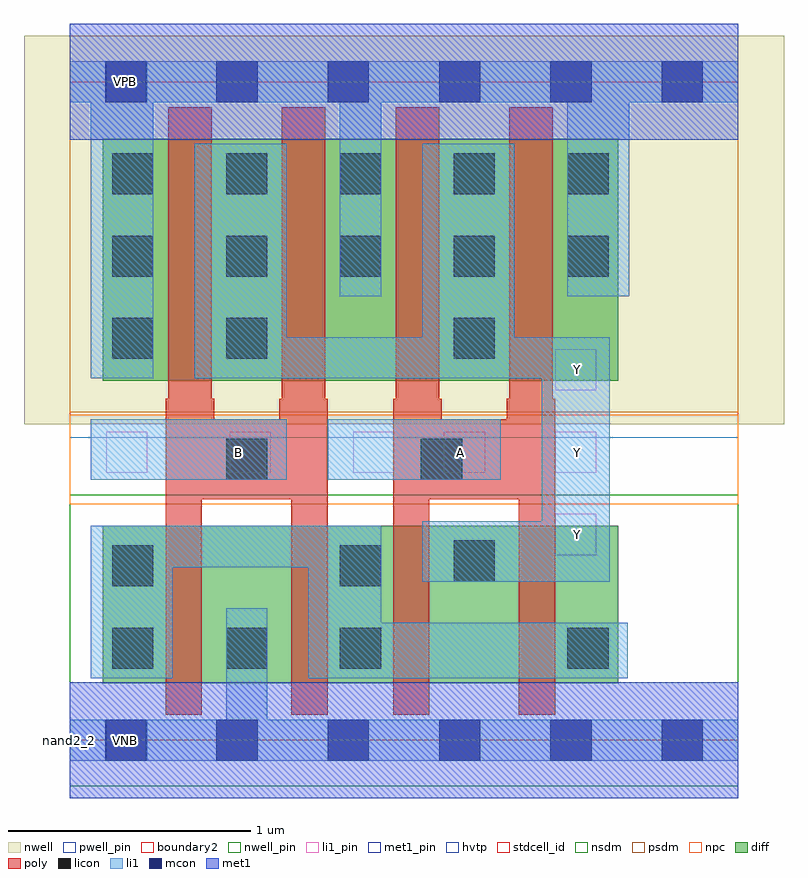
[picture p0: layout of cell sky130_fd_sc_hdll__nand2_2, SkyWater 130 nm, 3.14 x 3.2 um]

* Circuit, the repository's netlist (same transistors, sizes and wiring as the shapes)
* Copyright 2020 The SkyWater PDK Authors
*
* Licensed under the Apache License, Version 2.0 (the "License");
* you may not use this file except in compliance with the License.
* You may obtain a copy of the License at
*
*     https://www.apache.org/licenses/LICENSE-2.0
*
* Unless required by applicable law or agreed to in writing, software
* distributed under the License is distributed on an "AS IS" BASIS,
* WITHOUT WARRANTIES OR CONDITIONS OF ANY KIND, either express or implied.
* See the License for the specific language governing permissions and
* limitations under the License.
*
* SPDX-License-Identifier: Apache-2.0

.SUBCKT sky130_fd_sc_hdll__nand2_2 A B VGND VNB VPB VPWR Y
*.PININFO A:I B:I VGND:I VNB:I VPB:I VPWR:I Y:O
MMP0 Y A VPWR VPB sky130_fd_pr__pfet_01v8_hvt m=2 w=1.0U l=0.18U mult=1 sa=0.265
+ sb=0.265 sd=0.28 area=0.063 perim=1.14
MMP1 Y B VPWR VPB sky130_fd_pr__pfet_01v8_hvt m=2 w=1.0U l=0.18U mult=1 sa=0.265
+ sb=0.265 sd=0.28 area=0.063 perim=1.14
MMN0 Y A sndA VNB sky130_fd_pr__nfet_01v8 m=2 w=0.65U l=0.15U mult=1 sa=0.265 sb=0.265
+ sd=0.28 area=0.063 perim=1.14
MMN1 sndA B VGND VNB sky130_fd_pr__nfet_01v8 m=2 w=0.65U l=0.15U mult=1 sa=0.265
+ sb=0.265 sd=0.28 area=0.063 perim=1.14
.ENDS sky130_fd_sc_hdll__nand2_2

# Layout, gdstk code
import gdstk
lib = gdstk.Library(unit=1e-6, precision=1e-09)
def R(c, l, rs):  # rectangles x0, y0, x1, y1
    for r in rs: c.add(gdstk.rectangle(r[:2], r[2:], *l))
def A(c, l, x, y, w, h, nx, ny, dx, dy):  # array of equal rectangles
    R(c, l, [(x+i*dx, y+j*dy, x+i*dx+w, y+j*dy+h) for i in range(nx) for j in range(ny)])
def P(c, l, *ps):  # polygons
    for p in ps: c.add(gdstk.Polygon(p, *l))
nwell_pin = (64, 16)
nwell = (64, 20)
diff = (65, 20)
poly = (66, 20)
licon = (66, 44)
li1_pin = (67, 16)
li1 = (67, 20)
mcon = (67, 44)
met1_pin = (68, 16)
met1 = (68, 20)
hvtp = (78, 44)
stdcell_id = (81, 4)
nsdm = (93, 44)
psdm = (94, 20)
npc = (95, 20)
pwell_pin = (122, 16)
boundary2 = (236, 0)

sky130_fd_sc_hdll__nand2 = lib.new_cell('sky130_fd_sc_hdll__nand2_2')
R(sky130_fd_sc_hdll__nand2, nwell_pin, [(0.15,2.635,0.32,2.805)])
R(sky130_fd_sc_hdll__nand2, nwell, [(-0.19,1.305,2.95,2.91)])
R(sky130_fd_sc_hdll__nand2, diff, [(0.135,0.235,2.265,0.885), (0.135,1.485,2.265,2.485)])
P(sky130_fd_sc_hdll__nand2, poly, [(1.065,1.41),(1.055,1.41),(1.055,2.615),(0.875,2.615),(0.875,1.41),(0.865,1.41),(0.865,1.325),(0.595,1.325),(0.595,1.41),(0.585,1.41),(0.585,2.615),(0.405,2.615),(0.405,1.41),(0.395,1.41),(0.395,0.105),(0.545,0.105),(0.545,0.995),(0.915,0.995),(0.915,0.105),(1.065,0.105)],
  [(2.005,1.41),(1.995,1.41),(1.995,2.615),(1.815,2.615),(1.815,1.41),(1.805,1.41),(1.805,1.325),(1.535,1.325),(1.535,1.41),(1.525,1.41),(1.525,2.615),(1.345,2.615),(1.345,1.41),(1.335,1.41),(1.335,0.105),(1.485,0.105),(1.485,0.995),(1.855,0.995),(1.855,0.105),(2.005,0.105)])
A(sky130_fd_sc_hdll__nand2, licon, 0.175, 0.295, 0.17, 0.17, 3, 1, 0.47, 0)
A(sky130_fd_sc_hdll__nand2, licon, 0.175, 1.915, 0.17, 0.17, 5, 2, 0.47, 0.34)
R(sky130_fd_sc_hdll__nand2, licon, [(2.055,0.295,2.225,0.465), (0.175,0.635,0.345,0.805), (1.115,0.635,1.285,0.805), (1.585,0.655,1.755,0.825), (0.645,1.075,0.815,1.245), (1.45,1.075,1.62,1.245), (0.175,1.575,0.345,1.745), (0.645,1.575,0.815,1.745), (1.585,1.575,1.755,1.745)])
A(sky130_fd_sc_hdll__nand2, li1_pin, 2.005, 0.765, 0.17, 0.17, 1, 3, 0, 0.34)
A(sky130_fd_sc_hdll__nand2, li1_pin, 0.15, 1.105, 0.17, 0.17, 3, 1, 0.51, 0)
R(sky130_fd_sc_hdll__nand2, li1_pin, [(1.545,1.105,1.715,1.275)])
R(sky130_fd_sc_hdll__nand2, li1, [(0.085,1.075,0.895,1.325), (1.065,1.075,1.78,1.325)])
P(sky130_fd_sc_hdll__nand2, li1, [(2.76,0.085),(0.815,0.085),(0.815,0.545),(0.645,0.545),(0.645,0.085),(0,0.085),(0,-0.085),(2.76,-0.085)],
  [(2.76,2.805),(0,2.805),(0,2.635),(0.085,2.635),(0.085,1.495),(0.345,1.495),(0.345,2.635),(1.115,2.635),(1.115,1.835),(1.285,1.835),(1.285,2.635),(2.055,2.635),(2.055,1.835),(2.31,1.835),(2.31,2.635),(2.76,2.635)],
  [(2.305,0.485),(1.285,0.485),(1.285,0.885),(0.085,0.885),(0.085,0.255),(0.425,0.255),(0.425,0.715),(0.985,0.715),(0.985,0.255),(2.305,0.255)],
  [(2.23,1.665),(1.835,1.665),(1.835,2.465),(1.455,2.465),(1.455,1.665),(0.895,1.665),(0.895,2.465),(0.515,2.465),(0.515,1.495),(1.95,1.495),(1.95,0.905),(1.455,0.905),(1.455,0.655),(2.23,0.655)])
A(sky130_fd_sc_hdll__nand2, mcon, 0.145, -0.085, 0.17, 0.17, 6, 2, 0.46, 2.72)
R(sky130_fd_sc_hdll__nand2, met1_pin, [(0.15,-0.085,0.32,0.085), (0.15,2.635,0.32,2.805)])
R(sky130_fd_sc_hdll__nand2, met1, [(0,-0.24,2.76,0.24), (0,2.48,2.76,2.96)])
R(sky130_fd_sc_hdll__nand2, hvtp, [(0,1.25,2.76,2.72)])
R(sky130_fd_sc_hdll__nand2, stdcell_id, [(0,0,2.76,2.72)])
R(sky130_fd_sc_hdll__nand2, nsdm, [(0,-0.19,2.76,1.015)])
R(sky130_fd_sc_hdll__nand2, psdm, [(0,1.355,2.76,2.91)])
R(sky130_fd_sc_hdll__nand2, npc, [(0,0.975,2.76,1.345)])
R(sky130_fd_sc_hdll__nand2, pwell_pin, [(0.15,-0.085,0.32,0.085)])
R(sky130_fd_sc_hdll__nand2, boundary2, [(0,0,2.76,2.72)])
sky130_fd_sc_hdll__nand2.add(gdstk.Label('Y', (2.095,0.85), layer=67, texttype=5))
sky130_fd_sc_hdll__nand2.add(gdstk.Label('Y', (2.095,1.19), layer=67, texttype=5))
sky130_fd_sc_hdll__nand2.add(gdstk.Label('Y', (2.095,1.53), layer=67, texttype=5))
sky130_fd_sc_hdll__nand2.add(gdstk.Label('A', (1.615,1.19), layer=67, texttype=5))
sky130_fd_sc_hdll__nand2.add(gdstk.Label('B', (0.695,1.19), layer=67, texttype=5))
sky130_fd_sc_hdll__nand2.add(gdstk.Label('VPB', (0.23,2.72), layer=64, texttype=5))
sky130_fd_sc_hdll__nand2.add(gdstk.Label('VNB', (0.23,0), layer=64, texttype=59))
sky130_fd_sc_hdll__nand2.add(gdstk.Label('VGND', (0.23,0), layer=68, texttype=5))
sky130_fd_sc_hdll__nand2.add(gdstk.Label('VPWR', (0.23,2.72), layer=68, texttype=5))
sky130_fd_sc_hdll__nand2.add(gdstk.Label('nand2_2', (0,0), layer=83, texttype=44))

lib.write_gds('sky130_fd_sc_hdll__nand2_2.gds')
